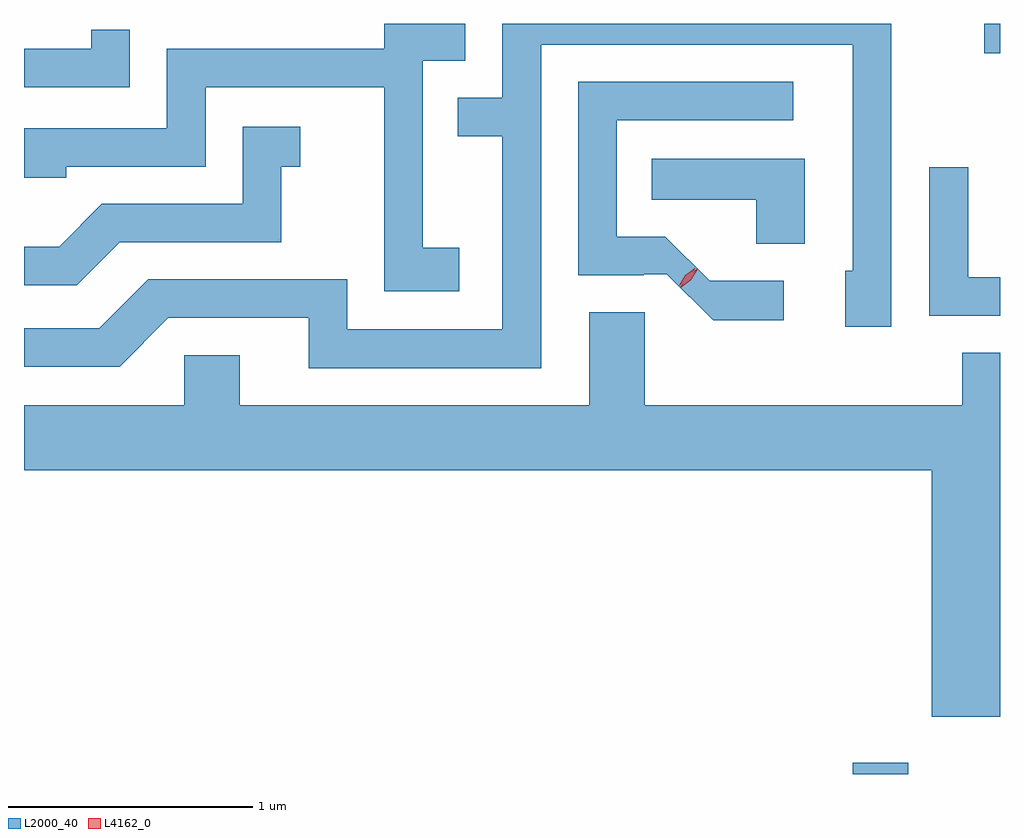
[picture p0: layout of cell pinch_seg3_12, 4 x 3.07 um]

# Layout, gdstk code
import gdstk
lib = gdstk.Library(unit=1e-6, precision=1e-09)
def R(c, l, rs):  # rectangles x0, y0, x1, y1
    for r in rs: c.add(gdstk.rectangle(r[:2], r[2:], *l))
def P(c, l, *ps):  # polygons
    for p in ps: c.add(gdstk.Polygon(p, *l))
L2000_40 = (2000, 40)
L4162_0 = (4162, 0)

pinch_seg3_12 = lib.new_cell('pinch_seg3_12')
R(pinch_seg3_12, L2000_40, [(852.831,1115.892,853.059,1115.939), (853.371,1118.846,853.435,1118.966)])
P(pinch_seg3_12, L2000_40, [(851.554,1118.881),(852.831,1118.881),(852.831,1117.954),(852.801,1117.954),(852.801,1117.726),(852.989,1117.726),(852.989,1118.966),(851.396,1118.966),(851.396,1118.664),(851.213,1118.664),(851.213,1118.506),(851.396,1118.506),(851.396,1117.714),(850.759,1117.714),(850.759,1117.919),(849.944,1117.919),(849.744,1117.719),(849.435,1117.719),(849.435,1117.561),(849.827,1117.561),(850.027,1117.761),(850.601,1117.761),(850.601,1117.556),(851.554,1117.556)],
  [(851.219,1118.049),(851.069,1118.049),(851.069,1118.816),(851.244,1118.816),(851.244,1118.966),(850.911,1118.966),(850.911,1118.864),(850.021,1118.864),(850.021,1118.539),(849.435,1118.539),(849.435,1118.336),(849.609,1118.336),(849.609,1118.381),(850.179,1118.381),(850.179,1118.706),(850.911,1118.706),(850.911,1117.871),(851.219,1117.871)],
  [(849.869,1118.943),(849.711,1118.943),(849.711,1118.864),(849.435,1118.864),(849.435,1118.706),(849.869,1118.706)],
  [(852.548,1117.913),(852.245,1117.913),(852.064,1118.094),(851.864,1118.094),(851.864,1118.571),(852.588,1118.571),(852.588,1118.729),(851.706,1118.729),(851.706,1117.936),(851.975,1117.936),(851.975,1117.94),(852.07,1117.94),(852.259,1117.751),(852.548,1117.751)],
  [(849.827,1118.071),(850.489,1118.071),(850.489,1118.381),(850.568,1118.381),(850.568,1118.544),(850.331,1118.544),(850.331,1118.229),(849.754,1118.229),(849.579,1118.054),(849.435,1118.054),(849.435,1117.896),(849.652,1117.896)],
  [(852.634,1118.414),(852.008,1118.414),(852.008,1118.246),(852.436,1118.246),(852.436,1118.066),(852.634,1118.066)],
  [(853.435,1117.929),(853.304,1117.929),(853.304,1118.378),(853.146,1118.378),(853.146,1117.771),(853.435,1117.771)],
  [(853.435,1117.619),(853.281,1117.619),(853.281,1117.404),(851.979,1117.404),(851.979,1117.784),(851.751,1117.784),(851.751,1117.404),(850.319,1117.404),(850.319,1117.609),(850.091,1117.609),(850.091,1117.404),(849.435,1117.404),(849.435,1117.136),(853.156,1117.136),(853.156,1116.126),(853.435,1116.126)])
P(pinch_seg3_12, L4162_0, [(852.125,1117.885),(852.125,1117.886),(852.153,1117.93),(852.195,1117.962),(852.196,1117.962),(852.196,1117.961),(852.168,1117.916),(852.126,1117.885)],
  [(852.121,1117.896),(852.121,1117.896),(852.146,1117.937),(852.184,1117.965),(852.185,1117.965),(852.185,1117.964),(852.16,1117.923),(852.122,1117.896)])

lib.write_gds('pinch_seg3_12.gds')
